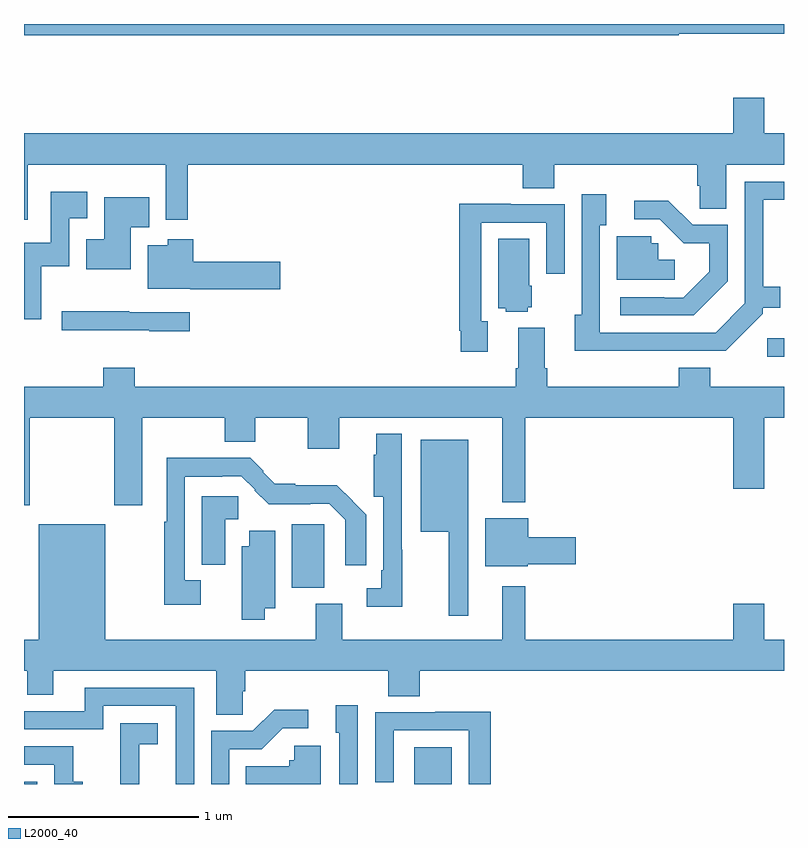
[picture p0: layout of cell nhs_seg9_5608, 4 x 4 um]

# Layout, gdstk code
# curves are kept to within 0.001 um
import gdstk
lib = gdstk.Library(unit=1e-6, precision=1e-09)
def R(c, l, rs):  # rectangles x0, y0, x1, y1
    for r in rs: c.add(gdstk.rectangle(r[:2], r[2:], *l))
def P(c, l, *ps):  # polygons
    for p in ps: c.add(gdstk.Polygon(p, *l))
L2000_40 = (2000, 40)

nhs_seg9_5608 = lib.new_cell('nhs_seg9_5608')
R(nhs_seg9_5608, L2000_40, [(437,1186.5,437.07,1186.512), (439.055,1186.5,439.252,1186.693), (438.41,1187.534,438.58,1187.868), (440.913,1188.749,441,1188.847)])
P(nhs_seg9_5608, L2000_40, [(440.446,1190.448),(441,1190.448),(441,1190.5),(437,1190.5),(437,1190.44),(440.446,1190.44)],
  [(437.019,1189.76),(437.745,1189.76),(437.745,1189.47),(437.861,1189.47),(437.861,1189.76),(439.625,1189.76),(439.625,1189.636),(439.79,1189.636),(439.79,1189.76),(440.543,1189.76),(440.543,1189.65),(440.557,1189.65),(440.557,1189.528),(440.695,1189.528),(440.695,1189.76),(441,1189.76),(441,1189.924),(440.896,1189.924),(440.896,1190.113),(440.732,1190.113),(440.732,1189.924),(437,1189.924),(437,1189.47),(437.019,1189.47)],
  [(440.363,1188.78),(440.694,1188.78),(440.889,1188.975),(440.889,1189.007),(440.981,1189.007),(440.981,1189.117),(440.89,1189.117),(440.89,1189.575),(441,1189.575),(441,1189.671),(440.793,1189.671),(440.793,1189.029),(440.64,1188.876),(440.031,1188.876),(440.031,1189.442),(440.065,1189.442),(440.065,1189.603),(439.935,1189.603),(439.935,1188.97),(439.898,1188.97),(439.898,1188.779)],
  [(437.091,1189.226),(437.238,1189.226),(437.238,1189.478),(437.332,1189.478),(437.332,1189.618),(437.142,1189.618),(437.142,1189.348),(437,1189.348),(437,1188.945),(437.091,1188.945)],
  [(437.563,1189.43),(437.66,1189.43),(437.66,1189.588),(437.423,1189.588),(437.423,1189.366),(437.327,1189.366),(437.327,1189.208),(437.563,1189.208)],
  [(440.703,1189.145),(440.703,1189.443),(440.52,1189.443),(440.392,1189.571),(440.211,1189.571),(440.211,1189.473),(440.346,1189.473),(440.473,1189.346),(440.606,1189.346),(440.606,1189.196),(440.469,1189.059),(440.369,1189.059),(440.369,1189.062),(440.139,1189.062),(440.139,1188.966),(440.524,1188.966)],
  [(439.441,1188.935),(439.407,1188.935),(439.407,1189.455),(439.749,1189.455),(439.749,1189.185),(439.845,1189.185),(439.845,1189.551),(439.561,1189.551),(439.561,1189.555),(439.291,1189.555),(439.291,1188.886),(439.299,1188.886),(439.299,1188.774),(439.441,1188.774)],
  [(440.425,1189.258),(440.337,1189.258),(440.337,1189.347),(440.301,1189.347),(440.301,1189.383),(440.12,1189.383),(440.12,1189.155),(440.425,1189.155)],
  [(439.65,1189.008),(439.672,1189.008),(439.672,1189.122),(439.66,1189.122),(439.66,1189.37),(439.496,1189.37),(439.496,1189.004),(439.536,1189.004),(439.536,1188.986),(439.65,1188.986)],
  [(438.349,1189.25),(437.891,1189.25),(437.891,1189.366),(437.756,1189.366),(437.756,1189.336),(437.651,1189.336),(437.651,1189.106),(437.874,1189.106),(437.874,1189.103),(438.349,1189.103)],
  [(437.872,1188.984),(437.555,1188.984),(437.555,1188.987),(437.199,1188.987),(437.199,1188.887),(437.659,1188.887),(437.659,1188.883),(437.872,1188.883)],
  [(440.612,1188.691),(440.447,1188.691),(440.447,1188.592),(439.754,1188.592),(439.754,1188.688),(439.741,1188.688),(439.741,1188.901),(439.601,1188.901),(439.601,1188.688),(439.589,1188.688),(439.589,1188.592),(437.582,1188.592),(437.582,1188.691),(437.417,1188.691),(437.417,1188.592),(437,1188.592),(437,1187.967),(437.031,1187.967),(437.031,1188.428),(437.476,1188.428),(437.476,1187.967),(437.623,1187.967),(437.623,1188.428),(438.056,1188.428),(438.056,1188.302),(438.217,1188.302),(438.217,1188.428),(438.494,1188.428),(438.494,1188.264),(438.658,1188.264),(438.658,1188.428),(439.517,1188.428),(439.517,1187.984),(439.639,1187.984),(439.639,1188.428),(440.732,1188.428),(440.732,1188.054),(440.896,1188.054),(440.896,1188.428),(441,1188.428),(441,1188.592),(440.612,1188.592)],
  [(438.99,1187.732),(438.987,1187.732),(438.987,1188.115),(438.988,1188.115),(438.988,1188.343),(438.854,1188.343),(438.854,1188.233),(438.842,1188.233),(438.842,1188.012),(438.891,1188.012),(438.891,1187.626),(438.879,1187.626),(438.879,1187.529),(438.804,1187.529),(438.804,1187.432),(438.99,1187.432)],
  [(439.339,1188.313),(439.088,1188.313),(439.088,1187.828),(439.235,1187.828),(439.235,1187.385),(439.339,1187.385)],
  [(437.93,1187.572),(437.847,1187.572),(437.847,1188.116),(438.044,1188.116),(438.044,1188.12),(438.144,1188.12),(438.216,1188.048),(438.213,1188.045),(438.287,1187.972),(438.506,1187.972),(438.506,1187.976),(438.606,1187.976),(438.69,1187.892),(438.69,1187.652),(438.802,1187.652),(438.802,1187.916),(438.647,1188.073),(438.427,1188.073),(438.427,1188.081),(438.319,1188.081),(438.257,1188.143),(438.261,1188.147),(438.191,1188.217),(437.751,1188.217),(437.751,1187.879),(437.739,1187.879),(437.739,1187.444),(437.93,1187.444)],
  [(438.058,1187.894),(438.127,1187.894),(438.127,1188.014),(437.936,1188.014),(437.936,1187.653),(438.058,1187.653)],
  [(439.65,1187.656),(439.903,1187.656),(439.903,1187.798),(439.654,1187.798),(439.654,1187.899),(439.427,1187.899),(439.427,1187.645),(439.65,1187.645)],
  [(437.155,1187.096),(438.011,1187.096),(438.011,1186.864),(438.15,1186.864),(438.15,1186.987),(438.164,1186.987),(438.164,1187.096),(438.917,1187.096),(438.917,1186.963),(439.082,1186.963),(439.082,1187.096),(441,1187.096),(441,1187.26),(440.896,1187.26),(440.896,1187.449),(440.732,1187.449),(440.732,1187.26),(439.639,1187.26),(439.639,1187.542),(439.517,1187.542),(439.517,1187.26),(438.676,1187.26),(438.676,1187.449),(438.536,1187.449),(438.536,1187.26),(437.428,1187.26),(437.428,1187.866),(437.078,1187.866),(437.078,1187.26),(437,1187.26),(437,1187.096),(437.016,1187.096),(437.016,1186.969),(437.155,1186.969)],
  [(438.268,1187.426),(438.322,1187.426),(438.322,1187.833),(438.185,1187.833),(438.185,1187.752),(438.146,1187.752),(438.146,1187.364),(438.268,1187.364)],
  [(437.895,1187.007),(437.321,1187.007),(437.321,1186.884),(437,1186.884),(437,1186.788),(437.418,1186.788),(437.418,1186.911),(437.799,1186.911),(437.799,1186.5),(437.895,1186.5)],
  [(438.756,1186.915),(438.641,1186.915),(438.641,1186.77),(438.66,1186.77),(438.66,1186.5),(438.756,1186.5)],
  [(438.081,1186.683),(438.25,1186.683),(438.361,1186.794),(438.496,1186.794),(438.496,1186.892),(438.317,1186.892),(438.204,1186.779),(437.985,1186.779),(437.985,1186.5),(438.081,1186.5)],
  [(439.457,1186.88),(439.165,1186.88),(439.165,1186.878),(438.849,1186.878),(438.849,1186.509),(438.945,1186.509),(438.945,1186.782),(439.341,1186.782),(439.341,1186.5),(439.457,1186.5)],
  [(437.606,1186.709),(437.704,1186.709),(437.704,1186.819),(437.506,1186.819),(437.506,1186.613),(437.507,1186.613),(437.507,1186.5),(437.606,1186.5)],
  [(438.562,1186.702),(438.423,1186.702),(438.423,1186.626),(438.397,1186.626),(438.397,1186.594),(438.166,1186.594),(438.166,1186.5),(438.562,1186.5)],
  [(437.308,1186.513),(437.259,1186.513),(437.259,1186.698),(437,1186.698),(437,1186.602),(437.16,1186.602),(437.16,1186.5),(437.308,1186.5)])

lib.write_gds('nhs_seg9_5608.gds')
